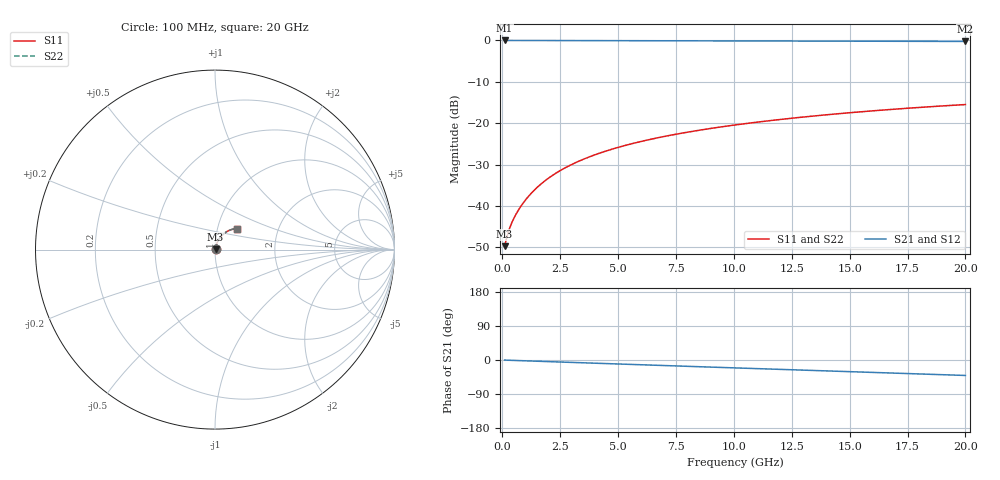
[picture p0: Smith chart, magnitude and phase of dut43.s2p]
! Touchstone file exported from HFSS 2026.1.0
!  File:  C:/ffzhzh/LocalFiles/Ansys_Project_Files/temp_train_TMRDL_43_1782880739_46784.aedt
!  Generated:  12:40:07 PM Jul  1, 2026
!  Design:  TMRDL
!  Project:  temp_train_TMRDL_43_1782880739_46784
! Variables:
!  h_bsmrdl = 2um
!  h_ox = 20um
!  h_rdl = 5um
!  h_sub = 80um
!  h_tmrdl = 4.27um
!  h_tsv = 80um
!  h_via = 3um
!  l_bsmrdl = 300um
!  l_sub = 1103.15um
!  l_tmrdl = 703.15um
!  m_sub = 200um
!  pitch = 31.07um
!  r_tsv = 6um
!  s_tmrdl = 10um
!  w_bsmrdl = 18um
!  w_sub = 500um
!  w_tmrdl = 21.77um
!  x_tsv_center1 = 714.035um
!  x_tsv_center2 = 1032.035um
!  x_tsv_center3 = 1756.955um
!  x_tsv_center4 = 2074.955um
!  x_tsv_center5 = 2799.875um
!  x_tsv_center6 = 3117.875um
# GHz S MA R 50.000000
! Terminal data exported
! Port[1] = TM_RDL1_1_T1
! Port[2] = TM_RDL1_1_T2
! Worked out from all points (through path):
!   200 points, 100 MHz to 20 GHz, reference 50 ohm
!   highest |S21| = -0.03 dB at 100 MHz (marker M1); lowest = -0.3 dB at 20 GHz (marker M2)
!   group delay of S21, straight-line fit = 5.64 ps
!   lowest |S11| = -49.7 dB at 100 MHz (marker M3), VSWR 1.01, Z = 50.3 + j0.146 ohm
!   |S11| at or under -10 dB: start of sweep to end of sweep
!   |S22| runs from -49.7 to -15.5 dB; largest |S21 - S12| = 4.6e-15
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0.1  0.003264 26.5  0.9971 -0.2  0.9971 -0.2  0.003264 26.5
! Gamma 0 0 0 0
! Port Impedance 50 0 50 0
0.2  0.004224 40.4  0.9968 -0.5  0.9968 -0.5  0.004224 40.4
0.3  0.005219 47.6  0.9965 -0.7  0.9965 -0.7  0.005219 47.6
0.4  0.006167 52.3  0.9963 -0.9  0.9963 -0.9  0.006165 52.3
0.5  0.007086 55.9  0.9962 -1.1  0.9962 -1.1  0.007084 55.9
0.6  0.008002 58.9  0.9961 -1.3  0.9961 -1.3  0.008 58.9
0.8  0.009861 63.4  0.9959 -1.7  0.9959 -1.7  0.009859 63.4
1  0.01177 66.5  0.9957 -2.2  0.9957 -2.2  0.01177 66.5
1.2  0.01372 68.7  0.9956 -2.6  0.9956 -2.6  0.01372 68.7
1.7  0.01869 71.8  0.9952 -3.6  0.9952 -3.6  0.01869 71.9
2.2  0.02371 73.1  0.9948 -4.7  0.9948 -4.7  0.02371 73.1
2.8  0.0297 73.4  0.9942 -6.0  0.9942 -6.0  0.0297 73.4
3.5  0.03661 73.0  0.9933 -7.4  0.9933 -7.4  0.03661 73.1
4.2  0.04337 72.2  0.9924 -8.9  0.9924 -8.9  0.04337 72.3
5  0.05094 71.1  0.9913 -10.5  0.9913 -10.5  0.05094 71.1
5.9  0.05922 69.6  0.99 -12.4  0.99 -12.4  0.05922 69.6
6.8  0.0673 68.1  0.9887 -14.3  0.9887 -14.3  0.0673 68.1
8.3  0.08035 65.4  0.9866 -17.3  0.9866 -17.3  0.08035 65.5
10.1  0.09543 62.3  0.9841 -21.0  0.9841 -21.0  0.09543 62.3
13.4  0.1216 56.3  0.9795 -27.6  0.9795 -27.6  0.1216 56.4
16.7  0.1458 50.3  0.9749 -34.2  0.9749 -34.2  0.1458 50.3
20  0.1677 44.2  0.9704 -40.8  0.9704 -40.8  0.1677 44.2
